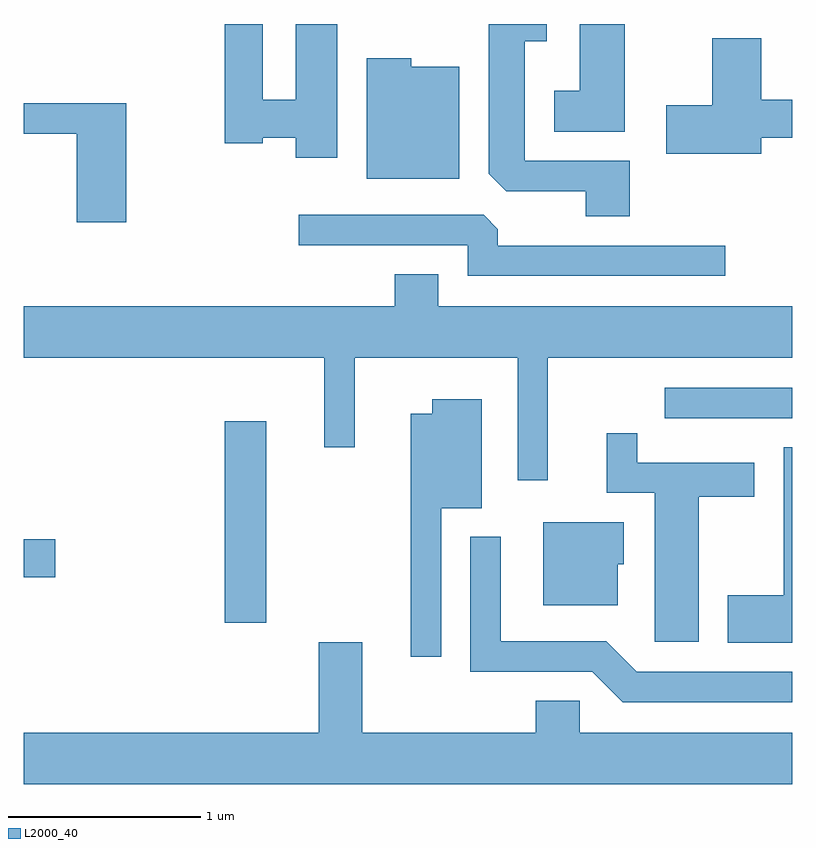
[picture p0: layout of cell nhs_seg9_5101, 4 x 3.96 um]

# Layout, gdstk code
import gdstk
lib = gdstk.Library(unit=1e-6, precision=1e-09)
def R(c, l, rs):  # rectangles x0, y0, x1, y1
    for r in rs: c.add(gdstk.rectangle(r[:2], r[2:], *l))
def P(c, l, *ps):  # polygons
    for p in ps: c.add(gdstk.Polygon(p, *l))
L2000_40 = (2000, 40)

nhs_seg9_5101 = lib.new_cell('nhs_seg9_5101')
R(nhs_seg9_5101, L2000_40, [(336.656,1999.316,336.874,2000.364), (335.611,1999.551,335.774,1999.749), (338.948,2000.381,339.611,2000.539)])
P(nhs_seg9_5101, L2000_40, [(338.764,2001.719),(338.219,2001.719),(338.219,2002.341),(338.334,2002.341),(338.334,2002.432),(338.031,2002.432),(338.031,2001.652),(338.122,2001.561),(338.536,2001.561),(338.536,2001.431),(338.764,2001.431)],
  [(338.739,2002.432),(338.506,2002.432),(338.506,2002.084),(338.371,2002.084),(338.371,2001.871),(338.739,2001.871)],
  [(337.244,2002.432),(337.026,2002.432),(337.026,2002.039),(336.854,2002.039),(336.854,2002.432),(336.656,2002.432),(336.656,2001.811),(336.854,2001.811),(336.854,2001.841),(337.026,2001.841),(337.026,2001.736),(337.244,2001.736)],
  [(339.449,2001.841),(339.611,2001.841),(339.611,2002.039),(339.449,2002.039),(339.449,2002.359),(339.196,2002.359),(339.196,2002.009),(338.956,2002.009),(338.956,2001.756),(339.449,2001.756)],
  [(337.879,2002.209),(337.629,2002.209),(337.629,2002.254),(337.396,2002.254),(337.396,2001.626),(337.879,2001.626)],
  [(336.144,2002.019),(335.611,2002.019),(335.611,2001.861),(335.886,2001.861),(335.886,2001.401),(336.144,2001.401)],
  [(339.263,2001.279),(338.079,2001.279),(338.079,2001.364),(338.004,2001.439),(337.043,2001.439),(337.043,2001.281),(337.921,2001.281),(337.921,2001.121),(339.263,2001.121)],
  [(338.339,2000.696),(339.611,2000.696),(339.611,2000.964),(337.769,2000.964),(337.769,2001.129),(337.541,2001.129),(337.541,2000.964),(335.611,2000.964),(335.611,2000.696),(337.176,2000.696),(337.176,2000.228),(337.334,2000.228),(337.334,2000.696),(338.181,2000.696),(338.181,2000.058),(338.339,2000.058)],
  [(337.784,1999.911),(337.994,1999.911),(337.994,2000.479),(337.736,2000.479),(337.736,2000.404),(337.626,2000.404),(337.626,1999.138),(337.784,1999.138)],
  [(339.124,1999.971),(339.414,1999.971),(339.414,2000.149),(338.804,2000.149),(338.804,2000.303),(338.646,2000.303),(338.646,1999.991),(338.896,1999.991),(338.896,1999.216),(339.124,1999.216)],
  [(339.611,2000.229),(339.566,2000.229),(339.566,1999.459),(339.276,1999.459),(339.276,1999.211),(339.611,1999.211)],
  [(338.704,1999.621),(338.734,1999.621),(338.734,1999.839),(338.316,1999.839),(338.316,1999.406),(338.704,1999.406)],
  [(339.611,1999.059),(338.802,1999.059),(338.642,1999.219),(338.094,1999.219),(338.094,1999.763),(337.936,1999.763),(337.936,1999.061),(338.569,1999.061),(338.729,1998.901),(339.611,1998.901)],
  [(339.611,1998.744),(338.504,1998.744),(338.504,1998.909),(338.276,1998.909),(338.276,1998.744),(337.374,1998.744),(337.374,1999.214),(337.146,1999.214),(337.146,1998.744),(335.611,1998.744),(335.611,1998.476),(339.611,1998.476)])

lib.write_gds('nhs_seg9_5101.gds')
